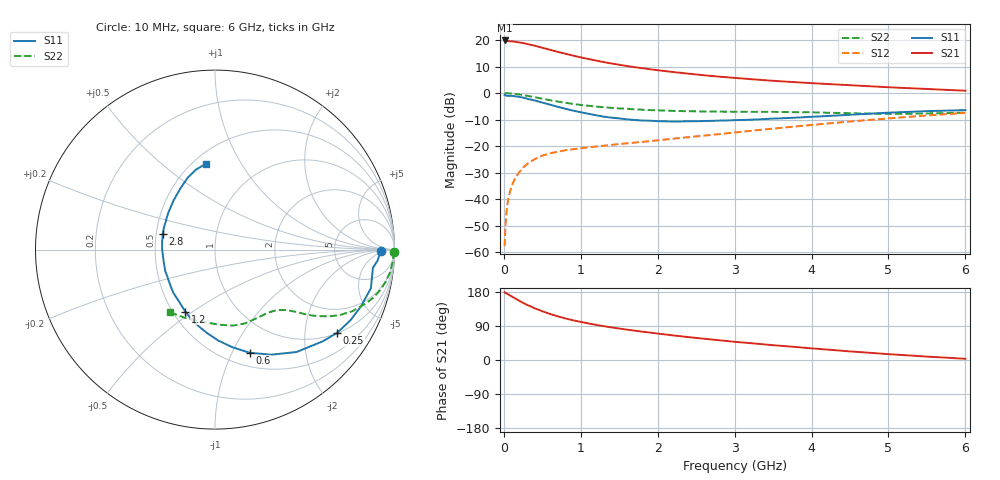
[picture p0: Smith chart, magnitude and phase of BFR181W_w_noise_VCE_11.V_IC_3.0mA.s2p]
! Infineon Technologies  Discrete & RF Semiconductors
! BFR181W
! VCE =  11. V,  IC =  3.0 mA
! Common Emitter S-Parameters:  Jan 2017
# GHz  S  MA  R  50
!  f  S11  S21  S12  S22
! GHz  MAG  ANG  MAG  ANG  MAG  ANG  MAG  ANG
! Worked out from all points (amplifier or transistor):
!   77 points, 10 MHz to 6 GHz, reference 50 ohm
!   highest |S21| = 19.9 dB at 10 MHz (marker M1)
!   |S21| within 3 dB of that: start of sweep to 532.4 MHz
!   unconditionally stable (mu >= 1): 1.664 GHz to 3.763 GHz
!   at 130 MHz: K = 0.10, MSG = 26.3 dB, |S12| = -33.2 dB
!   at 2.2 GHz: K = 1.09, MAG = 10.8 dB, |S12| = -17.2 dB
!   at 6 GHz: K = 0.85, MSG = 4.2 dB, |S12| = -7.4 dB
!   lowest NFmin = 0.87 dB at 450 MHz
!   S11 on the Smith chart (normalised r, x): 10 MHz: 24, -3; 250 MHz: 1.01, -2.92; 600 MHz: 0.65, -1.17; 1.2 GHz: 0.58, -0.47; 2.8 GHz: 0.54, +0.10; 6 GHz: 0.58, +0.71
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0.01  0.9227 -0.6  9.855 179.2  0.0013 81.8  0.9989 -0.7
0.02  0.9078 -3.9  9.751 177.2  0.0029 99.5  0.995 -1.3
0.03  0.9001 -4.8  9.702 176.1  0.0048 89.7  0.9943 -2.1
0.07  0.8875 -9.5  9.541 171.6  0.0121 82.6  0.9892 -5.1
0.15  0.8723 -21.4  9.301 162.3  0.0252 78.4  0.9675 -10.7
0.25  0.8236 -34.3  8.812 150.8  0.0394 71.2  0.9227 -16.8
0.3  0.7877 -40.5  8.48 145.7  0.0458 67.6  0.8941 -19.5
0.4  0.7293 -51.5  7.855 136.5  0.0567 63.0  0.8398 -24.1
0.5  0.6644 -61.8  7.177 128.6  0.0661 58.9  0.7852 -27.7
0.6  0.6069 -71.3  6.577 121.5  0.0734 55.7  0.7372 -30.3
0.7  0.5532 -79.8  6.01 115.2  0.0784 53.5  0.694 -32.3
0.8  0.5079 -87.8  5.54 109.7  0.0837 52.3  0.6578 -34.0
0.9  0.4682 -95.2  5.102 104.8  0.0873 50.9  0.6264 -35.3
1.1  0.4081 -109.1  4.4 96.5  0.0954 50.2  0.5781 -37.2
1.2  0.3828 -115.6  4.107 92.7  0.0985 50.1  0.5586 -38.1
1.6  0.3206 -140.1  3.246 80.1  0.113 51.7  0.5065 -41.7
2.1  0.2933 -166.8  2.603 67.4  0.1335 54.2  0.4682 -47.5
2.8  0.3034 163.7  2.047 52.1  0.1687 57.1  0.4485 -57.6
3.1  0.312 153.9  1.889 46.3  0.1875 57.3  0.4446 -62.0
4.1  0.364 127.8  1.516 29.2  0.2588 55.5  0.4313 -78.4
5.1  0.4337 109.2  1.272 14.2  0.3427 49.6  0.4073 -102.2
6  0.4796 96.3  1.111 3.2  0.4243 41.9  0.4303 -125.7
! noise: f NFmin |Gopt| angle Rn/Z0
0.45  0.87  0.47  17  0.27
0.9  0.93  0.42  32  0.26
1.9  1.34  0.24  80  0.21
2.4  1.55  0.21  94  0.23
